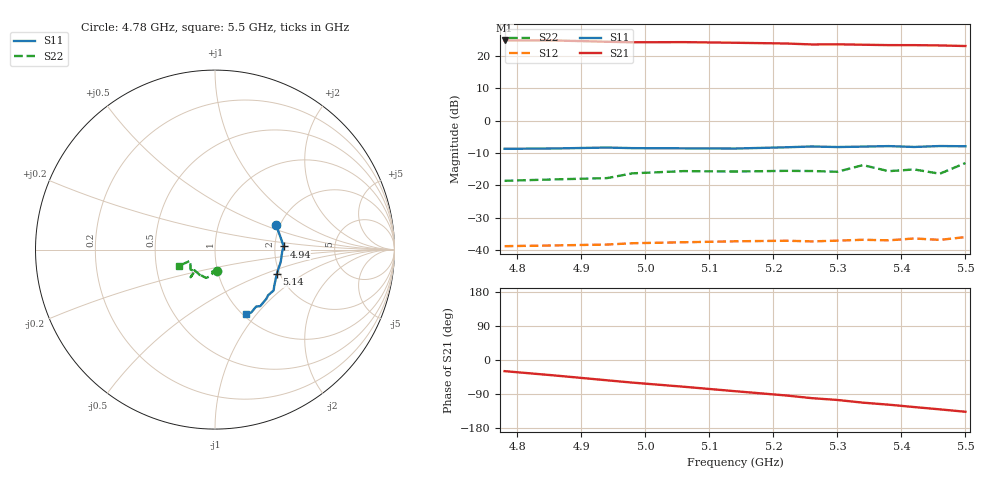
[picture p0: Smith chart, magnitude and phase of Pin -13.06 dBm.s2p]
! RsaToolbox (C) 2015 Rohde & Schwarz America
! Number of points: 14
! Number of ports: 2
! Balanced ports?: No
# Hz S RI R 50
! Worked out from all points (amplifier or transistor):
!   14 points, 4.78 GHz to 5.5 GHz, reference 50 ohm
!   highest |S21| = 24.8 dB at 4.78 GHz (marker M1)
!   |S21| within 3 dB of that: start of sweep to end of sweep
!   unconditionally stable (mu >= 1): start of sweep to end of sweep
!   at 4.94 GHz: K = 2.14, MAG = 25.3 dB, |S12| = -38.3 dB
!   at 5.26 GHz: K = 2.06, MAG = 24.6 dB, |S12| = -37.4 dB
!   at 5.5 GHz: K = 1.82, MAG = 24.3 dB, |S12| = -36.0 dB
!   S11 on the Smith chart (normalised r, x): 4.78 GHz: 1.91, +0.59; 4.94 GHz: 2.24, +0.09; 5.14 GHz: 1.92, -0.61; 5.5 GHz: 1.03, -0.89
4.78e9  0.3409 0.1345  15.11 -8.521  0.0082 -0.00799  0.00963 -0.117
4.86e9  0.3639 0.0722  13.06 -11.38  0.0071 -0.00937  -0.0159 -0.1224
4.94e9  0.383 0.0177  9.84 -13.32  0.00588 -0.0106  -0.0094 -0.1288
4.98e9  0.375 -0.00726  8.197 -14.02  0.00537 -0.0115  -0.0304 -0.15
5.06e9  0.3661 -0.0689  5.431 -15.41  0.00331 -0.0127  -0.0504 -0.1578
5.14e9  0.3441 -0.1359  2.141 -15.83  0.00098 -0.0136  -0.0848 -0.1393
5.22e9  0.3304 -0.201  -0.9892 -15.53  -0.00109 -0.0138  -0.0851 -0.1439
5.26e9  0.3267 -0.2275  -2.787 -14.78  -0.00159 -0.0135  -0.0794 -0.1458
5.3e9  0.2953 -0.2551  -4.033 -14.58  -0.00321 -0.0136  -0.1142 -0.1147
5.34e9  0.2864 -0.2738  -5.725 -13.75  -0.00398 -0.0138  -0.1355 -0.1539
5.38e9  0.2518 -0.3153  -6.868 -12.99  -0.0055 -0.013  -0.1129 -0.1207
5.42e9  0.2293 -0.3171  -8.24 -12.15  -0.00656 -0.0135  -0.1362 -0.1111
5.46e9  0.2018 -0.3504  -9.383 -11.09  -0.00771 -0.0121  -0.1373 -0.0622
5.5e9  0.1747 -0.361  -10.34 -9.767  -0.00897 -0.013  -0.2015 -0.0904
